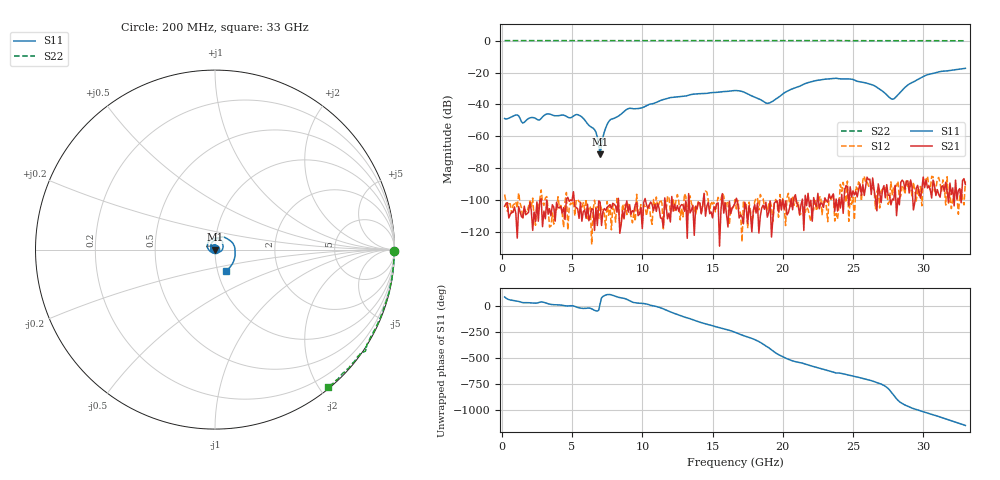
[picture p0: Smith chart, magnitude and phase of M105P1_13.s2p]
# GHZ S RI R 50
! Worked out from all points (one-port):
!   329 points, 200 MHz to 33 GHz, reference 50 ohm
!   lowest |S11| = -71.2 dB at 7 GHz (marker M1), VSWR 1.00, Z = 50 + j0.00883 ohm
!   |S11| at or under -10 dB: start of sweep to end of sweep
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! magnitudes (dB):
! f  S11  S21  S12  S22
! 200 MHz  -48.8  -103.9  -96.5  0.0
! 1.1 GHz  -46.6  -123.8  -105.2  0.0
! 1.5 GHz  -51.7  -111.0  -111.6  0.0
! 2.7 GHz  -49.7  -100.5  -100.0  0.0
! 3.3 GHz  -46.0  -108.9  -106.0  0.0
! 5.7 GHz  -47.9  -113.2  -104.4  0.0
! 6.7 GHz  -57.4  -105.0  -105.5  0.0
! 7 GHz  -71.2  -101.2  -102.6  0.0
! 7.3 GHz  -57.2  -105.3  -108.8  0.0
! 7.7 GHz  -49.8  -103.0  -102.9  0.0
! 9 GHz  -42.7  -107.6  -102.0  0.0
! 11.2 GHz  -37.9  -105.3  -102.0  0.0
! 16.6 GHz  -31.3  -101.9  -99.7  0.0
! 18.9 GHz  -39.3  -110.7  -106.7  0.0
! 22.1 GHz  -25.6  -113.2  -106.2  0.0
! 25 GHz  -24.4  -94.2  -98.3  0.0
! 26.5 GHz  -28.2  -93.5  -93.8  0.0
! 27.6 GHz  -35.7  -97.1  -100.6  0.0
! 27.9 GHz  -36.5  -100.0  -91.0  0.0
! 28.9 GHz  -27.9  -87.9  -91.4  -0.1
! 30.2 GHz  -21.7  -87.5  -88.0  -0.1
! 33 GHz  -17.4  -90.3  -88.3  -0.1
